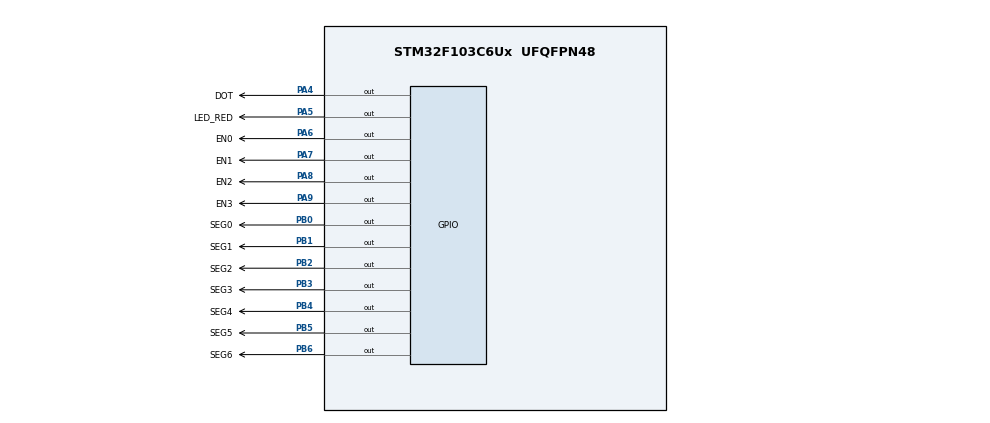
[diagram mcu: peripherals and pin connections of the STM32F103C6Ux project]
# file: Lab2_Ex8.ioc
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Mcu.Family=STM32F1
Mcu.Name=STM32F103C6Ux
Mcu.Package=UFQFPN48
NVIC.PriorityGroup=NVIC_PRIORITYGROUP_4
NVIC.TIM2_IRQn=true\:0\:0\:false\:false\:true\:true\:true
PA4.GPIO_Label=DOT
PA4.Signal=GPIO_Output
PA5.GPIO_Label=LED_RED
PA5.Signal=GPIO_Output
PA6.GPIO_Label=EN0
PA6.Signal=GPIO_Output
PA7.GPIO_Label=EN1
PA7.Signal=GPIO_Output
PA8.GPIO_Label=EN2
PA8.Signal=GPIO_Output
PA9.GPIO_Label=EN3
PA9.Signal=GPIO_Output
PB0.GPIO_Label=SEG0
PB0.Signal=GPIO_Output
PB1.GPIO_Label=SEG1
PB1.Signal=GPIO_Output
PB2.GPIO_Label=SEG2
PB2.Signal=GPIO_Output
PB3.GPIO_Label=SEG3
PB3.Signal=GPIO_Output
PB4.GPIO_Label=SEG4
PB4.Signal=GPIO_Output
PB5.GPIO_Label=SEG5
PB5.Signal=GPIO_Output
PB6.GPIO_Label=SEG6
PB6.Signal=GPIO_Output
ProjectManager.HeapSize=0x200
ProjectManager.StackSize=0x400
ProjectManager.TargetToolchain=STM32CubeIDE
RCC.APB1Freq_Value=8000000
RCC.APB2Freq_Value=8000000
TIM2.Period=9
TIM2.Prescaler=7999
VP_SYS_VS_ND.Mode=No_Debug
VP_TIM2_VS_ClockSourceINT.Mode=Internal
board=custom

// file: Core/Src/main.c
/* USER CODE BEGIN Header */
/**
  ******************************************************************************
  * @file           : main.c
  * @brief          : Main program body
  ******************************************************************************
  * @attention
  *
  * <h2><center>&copy; Copyright (c) 2023 STMicroelectronics.
  * All rights reserved.</center></h2>
  *
  * This software component is licensed by ST under BSD 3-Clause license,
  * the "License"; You may not use this file except in compliance with the
  * License. You may obtain a copy of the License at:
  *                        opensource.org/licenses/BSD-3-Clause
  *
  ******************************************************************************
  */
/* USER CODE END Header */
#include "main.h"

/* USER CODE BEGIN Includes */
#include "software_timer.h"
/* USER CODE END Includes */

TIM_HandleTypeDef htim2;

/* USER CODE BEGIN PV */

const int MAX_LED = 4;
int index_led = 0;
int led_buffer [4] = {0, 0, 0, 0};
int hour = 15, minute = 8, second = 55;
/* USER CODE END PV */

void SystemClock_Config(void);
static void MX_GPIO_Init(void);
static void MX_TIM2_Init(void);
/* USER CODE BEGIN PFP */
void update7SEG(int);
/* USER CODE END PFP */

/* USER CODE BEGIN 0 */
void display7SEG(int num){
	if(num == 0){
			HAL_GPIO_WritePin(SEG0_GPIO_Port, SEG0_Pin, RESET);
			HAL_GPIO_WritePin(SEG1_GPIO_Port, SEG1_Pin, RESET);
			HAL_GPIO_WritePin(SEG2_GPIO_Port, SEG2_Pin, RESET);
			HAL_GPIO_WritePin(SEG3_GPIO_Port, SEG3_Pin, RESET);
			HAL_GPIO_WritePin(SEG4_GPIO_Port, SEG4_Pin, RESET);
			HAL_GPIO_WritePin(SEG5_GPIO_Port, SEG5_Pin, RESET);
			HAL_GPIO_WritePin(SEG6_GPIO_Port, SEG6_Pin, SET);
		}
		else if(num == 1){
			HAL_GPIO_WritePin(SEG0_GPIO_Port, SEG0_Pin, SET);
			HAL_GPIO_WritePin(SEG1_GPIO_Port, SEG1_Pin, RESET);
			HAL_GPIO_WritePin(SEG2_GPIO_Port, SEG2_Pin, RESET);
			HAL_GPIO_WritePin(SEG3_GPIO_Port, SEG3_Pin, SET);
			HAL_GPIO_WritePin(SEG4_GPIO_Port, SEG4_Pin, SET);
			HAL_GPIO_WritePin(SEG5_GPIO_Port, SEG5_Pin, SET);
			HAL_GPIO_WritePin(SEG6_GPIO_Port, SEG6_Pin, SET);
		}
		else if(num == 2){
			HAL_GPIO_WritePin(SEG0_GPIO_Port, SEG0_Pin, RESET);
			HAL_GPIO_WritePin(SEG1_GPIO_Port, SEG1_Pin, RESET);
			HAL_GPIO_WritePin(SEG2_GPIO_Port, SEG2_Pin, SET);
			HAL_GPIO_WritePin(SEG3_GPIO_Port, SEG3_Pin, RESET);
			HAL_GPIO_WritePin(SEG4_GPIO_Port, SEG4_Pin, RESET);
			HAL_GPIO_WritePin(SEG5_GPIO_Port, SEG5_Pin, SET);
			HAL_GPIO_WritePin(SEG6_GPIO_Port, SEG6_Pin, RESET);
		}
		else if(num == 3){
			HAL_GPIO_WritePin(SEG0_GPIO_Port, SEG0_Pin, RESET);
			HAL_GPIO_WritePin(SEG1_GPIO_Port, SEG1_Pin, RESET);
			HAL_GPIO_WritePin(SEG2_GPIO_Port, SEG2_Pin, RESET);
			HAL_GPIO_WritePin(SEG3_GPIO_Port, SEG3_Pin, RESET);
			HAL_GPIO_WritePin(SEG4_GPIO_Port, SEG4_Pin, SET);
			HAL_GPIO_WritePin(SEG5_GPIO_Port, SEG5_Pin, SET);
			HAL_GPIO_WritePin(SEG6_GPIO_Port, SEG6_Pin, RESET);
		}
		else if(num == 4){
			HAL_GPIO_WritePin(SEG0_GPIO_Port, SEG0_Pin, SET);
			HAL_GPIO_WritePin(SEG1_GPIO_Port, SEG1_Pin, RESET);
			HAL_GPIO_WritePin(SEG2_GPIO_Port, SEG2_Pin, RESET);
			HAL_GPIO_WritePin(SEG3_GPIO_Port, SEG3_Pin, SET);
			HAL_GPIO_WritePin(SEG4_GPIO_Port, SEG4_Pin, SET);
			HAL_GPIO_WritePin(SEG5_GPIO_Port, SEG5_Pin, RESET);
			HAL_GPIO_WritePin(SEG6_GPIO_Port, SEG6_Pin, RESET);
		}
		else if(num == 5){
			HAL_GPIO_WritePin(SEG0_GPIO_Port, SEG0_Pin, RESET);
			HAL_GPIO_WritePin(SEG1_GPIO_Port, SEG1_Pin, SET);
			HAL_GPIO_WritePin(SEG2_GPIO_Port, SEG2_Pin, RESET);
			HAL_GPIO_WritePin(SEG3_GPIO_Port, SEG3_Pin, RESET);
			HAL_GPIO_WritePin(SEG4_GPIO_Port, SEG4_Pin, SET);
			HAL_GPIO_WritePin(SEG5_GPIO_Port, SEG5_Pin, RESET);
			HAL_GPIO_WritePin(SEG6_GPIO_Port, SEG6_Pin, RESET);
		}
		else if(num == 6){
			HAL_GPIO_WritePin(SEG0_GPIO_Port, SEG0_Pin, RESET);
			HAL_GPIO_WritePin(SEG1_GPIO_Port, SEG1_Pin, SET);
			HAL_GPIO_WritePin(SEG2_GPIO_Port, SEG2_Pin, RESET);
			HAL_GPIO_WritePin(SEG3_GPIO_Port, SEG3_Pin, RESET);
			HAL_GPIO_WritePin(SEG4_GPIO_Port, SEG4_Pin, RESET);
			HAL_GPIO_WritePin(SEG5_GPIO_Port, SEG5_Pin, RESET);
			HAL_GPIO_WritePin(SEG6_GPIO_Port, SEG6_Pin, RESET);
		}
		else if(num == 7){
			HAL_GPIO_WritePin(SEG0_GPIO_Port, SEG0_Pin, RESET);
			HAL_GPIO_WritePin(SEG1_GPIO_Port, SEG1_Pin, RESET);
			HAL_GPIO_WritePin(SEG2_GPIO_Port, SEG2_Pin, RESET);
			HAL_GPIO_WritePin(SEG3_GPIO_Port, SEG3_Pin, SET);
			HAL_GPIO_WritePin(SEG4_GPIO_Port, SEG4_Pin, SET);
			HAL_GPIO_WritePin(SEG5_GPIO_Port, SEG5_Pin, SET);
			HAL_GPIO_WritePin(SEG6_GPIO_Port, SEG6_Pin, SET);
		}
		else if(num == 8){
			HAL_GPIO_WritePin(SEG0_GPIO_Port, SEG0_Pin, RESET);
			HAL_GPIO_WritePin(SEG1_GPIO_Port, SEG1_Pin, RESET);
			HAL_GPIO_WritePin(SEG2_GPIO_Port, SEG2_Pin, RESET);
			HAL_GPIO_WritePin(SEG3_GPIO_Port, SEG3_Pin, RESET);
			HAL_GPIO_WritePin(SEG4_GPIO_Port, SEG4_Pin, RESET);
			HAL_GPIO_WritePin(SEG5_GPIO_Port, SEG5_Pin, RESET);
			HAL_GPIO_WritePin(SEG6_GPIO_Port, SEG6_Pin, RESET);
		}
		else if(num == 9){
			HAL_GPIO_WritePin(SEG0_GPIO_Port, SEG0_Pin, RESET);
			HAL_GPIO_WritePin(SEG1_GPIO_Port, SEG1_Pin, RESET);
			HAL_GPIO_WritePin(SEG2_GPIO_Port, SEG2_Pin, RESET);
			HAL_GPIO_WritePin(SEG3_GPIO_Port, SEG3_Pin, RESET);
			HAL_GPIO_WritePin(SEG4_GPIO_Port, SEG4_Pin, SET);
			HAL_GPIO_WritePin(SEG5_GPIO_Port, SEG5_Pin, RESET);
			HAL_GPIO_WritePin(SEG6_GPIO_Port, SEG6_Pin, RESET);
		}
}
/* USER CODE END 0 */

int main(void)
{

  /* MCU Configuration--------------------------------------------------------*/

  /* Reset of all peripherals, Initializes the Flash interface and the Systick. */
  HAL_Init();

  /* Configure the system clock */
  SystemClock_Config();

  /* Initialize all configured peripherals */
  MX_GPIO_Init();
  MX_TIM2_Init();
  /* USER CODE BEGIN 2 */
  HAL_TIM_Base_Start_IT (& htim2 ) ;
  /* USER CODE END 2 */
  HAL_GPIO_TogglePin(SEG0_GPIO_Port, SEG0_Pin);
  HAL_GPIO_TogglePin(SEG1_GPIO_Port, SEG1_Pin);
  HAL_GPIO_TogglePin(SEG2_GPIO_Port, SEG2_Pin);
  HAL_GPIO_TogglePin(SEG3_GPIO_Port, SEG3_Pin);
  HAL_GPIO_TogglePin(SEG4_GPIO_Port, SEG4_Pin);
  HAL_GPIO_TogglePin(SEG5_GPIO_Port, SEG5_Pin);
  HAL_GPIO_TogglePin(SEG6_GPIO_Port, SEG6_Pin);
  /* Infinite loop */
  /* USER CODE BEGIN WHILE */
  setTimer1(100);
  while (1)
  {
    /* USER CODE END WHILE */
	  if(timer1_flag ==1 ){
		  setTimer1(100);
		  second++;
		 	  if(second >= 60) {
		 		  second = 0;
		 		  minute++;
		 	  }
		 	  if(minute >= 60) {
		 		  minute = 0;
		 		  hour++;
		 	  }
		 	  if(hour >= 24) {
		 		  hour = 0;
		 	  }
		  updateClockBuffer();
		  HAL_GPIO_TogglePin(DOT_GPIO_Port, DOT_Pin);
		  HAL_GPIO_TogglePin ( LED_RED_GPIO_Port , LED_RED_Pin ) ;
		  update7SEG(index_led++);
		  if(index_led == MAX_LED) index_led = 0;
  }

  }
}

void SystemClock_Config(void)
{
  RCC_OscInitTypeDef RCC_OscInitStruct = {0};
  RCC_ClkInitTypeDef RCC_ClkInitStruct = {0};

  /** Initializes the RCC Oscillators according to the specified parameters
  * in the RCC_OscInitTypeDef structure.
  */
  RCC_OscInitStruct.OscillatorType = RCC_OSCILLATORTYPE_HSI;
  RCC_OscInitStruct.HSIState = RCC_HSI_ON;
  RCC_OscInitStruct.HSICalibrationValue = RCC_HSICALIBRATION_DEFAULT;
  RCC_OscInitStruct.PLL.PLLState = RCC_PLL_NONE;
  if (HAL_RCC_OscConfig(&RCC_OscInitStruct) != HAL_OK)
  {
    Error_Handler();
  }
  /** Initializes the CPU, AHB and APB buses clocks
  */
  RCC_ClkInitStruct.ClockType = RCC_CLOCKTYPE_HCLK|RCC_CLOCKTYPE_SYSCLK
                              |RCC_CLOCKTYPE_PCLK1|RCC_CLOCKTYPE_PCLK2;
  RCC_ClkInitStruct.SYSCLKSource = RCC_SYSCLKSOURCE_HSI;
  RCC_ClkInitStruct.AHBCLKDivider = RCC_SYSCLK_DIV1;
  RCC_ClkInitStruct.APB1CLKDivider = RCC_HCLK_DIV1;
  RCC_ClkInitStruct.APB2CLKDivider = RCC_HCLK_DIV1;

  if (HAL_RCC_ClockConfig(&RCC_ClkInitStruct, FLASH_LATENCY_0) != HAL_OK)
  {
    Error_Handler();
  }
}

static void MX_TIM2_Init(void)
{

  TIM_ClockConfigTypeDef sClockSourceConfig = {0};
  TIM_MasterConfigTypeDef sMasterConfig = {0};

  htim2.Instance = TIM2;
  htim2.Init.Prescaler = 7999;
  htim2.Init.CounterMode = TIM_COUNTERMODE_UP;
  htim2.Init.Period = 9;
  htim2.Init.ClockDivision = TIM_CLOCKDIVISION_DIV1;
  htim2.Init.AutoReloadPreload = TIM_AUTORELOAD_PRELOAD_DISABLE;
  if (HAL_TIM_Base_Init(&htim2) != HAL_OK)
  {
    Error_Handler();
  }
  sClockSourceConfig.ClockSource = TIM_CLOCKSOURCE_INTERNAL;
  if (HAL_TIM_ConfigClockSource(&htim2, &sClockSourceConfig) != HAL_OK)
  {
    Error_Handler();
  }
  sMasterConfig.MasterOutputTrigger = TIM_TRGO_RESET;
  sMasterConfig.MasterSlaveMode = TIM_MASTERSLAVEMODE_DISABLE;
  if (HAL_TIMEx_MasterConfigSynchronization(&htim2, &sMasterConfig) != HAL_OK)
  {
    Error_Handler();
  }

}

static void MX_GPIO_Init(void)
{
  GPIO_InitTypeDef GPIO_InitStruct = {0};

  /* GPIO Ports Clock Enable */
  __HAL_RCC_GPIOA_CLK_ENABLE();
  __HAL_RCC_GPIOB_CLK_ENABLE();

  /*Configure GPIO pin Output Level */
  HAL_GPIO_WritePin(GPIOA, DOT_Pin|LED_RED_Pin|EN0_Pin|EN1_Pin
                          |EN2_Pin|EN3_Pin, GPIO_PIN_RESET);

  /*Configure GPIO pin Output Level */
  HAL_GPIO_WritePin(GPIOB, SEG0_Pin|SEG1_Pin|SEG2_Pin|SEG3_Pin
                          |SEG4_Pin|SEG5_Pin|SEG6_Pin, GPIO_PIN_RESET);

  /*Configure GPIO pins : DOT_Pin LED_RED_Pin EN0_Pin EN1_Pin
                           EN2_Pin EN3_Pin */
  GPIO_InitStruct.Pin = DOT_Pin|LED_RED_Pin|EN0_Pin|EN1_Pin
                          |EN2_Pin|EN3_Pin;
  GPIO_InitStruct.Mode = GPIO_MODE_OUTPUT_PP;
  GPIO_InitStruct.Pull = GPIO_NOPULL;
  GPIO_InitStruct.Speed = GPIO_SPEED_FREQ_LOW;
  HAL_GPIO_Init(GPIOA, &GPIO_InitStruct);

  /*Configure GPIO pins : SEG0_Pin SEG1_Pin SEG2_Pin SEG3_Pin
                           SEG4_Pin SEG5_Pin SEG6_Pin */
  GPIO_InitStruct.Pin = SEG0_Pin|SEG1_Pin|SEG2_Pin|SEG3_Pin
                          |SEG4_Pin|SEG5_Pin|SEG6_Pin;
  GPIO_InitStruct.Mode = GPIO_MODE_OUTPUT_PP;
  GPIO_InitStruct.Pull = GPIO_NOPULL;
  GPIO_InitStruct.Speed = GPIO_SPEED_FREQ_LOW;
  HAL_GPIO_Init(GPIOB, &GPIO_InitStruct);

}

/* USER CODE BEGIN 4 */
int counter = 100;
int counter1 = 100;

void HAL_TIM_PeriodElapsedCallback ( TIM_HandleTypeDef * htim ){
	timerRun();
}
void update7SEG(int index) {
		display7SEG(led_buffer[index]);
		switch(index) {
		case 0:
			HAL_GPIO_WritePin(EN0_GPIO_Port, EN0_Pin, RESET);
			HAL_GPIO_WritePin(EN1_GPIO_Port, EN1_Pin, SET);
			HAL_GPIO_WritePin(EN2_GPIO_Port, EN2_Pin, SET);
			HAL_GPIO_WritePin(EN3_GPIO_Port, EN3_Pin, SET);
			break;
		case 1:
			HAL_GPIO_WritePin(EN0_GPIO_Port, EN0_Pin, SET);
			HAL_GPIO_WritePin(EN1_GPIO_Port, EN1_Pin, RESET);
			HAL_GPIO_WritePin(EN2_GPIO_Port, EN2_Pin, SET);
			HAL_GPIO_WritePin(EN3_GPIO_Port, EN3_Pin, SET);
			break;
		case 2:
			HAL_GPIO_WritePin(EN0_GPIO_Port, EN0_Pin, SET);
			HAL_GPIO_WritePin(EN1_GPIO_Port, EN1_Pin, SET);
			HAL_GPIO_WritePin(EN2_GPIO_Port, EN2_Pin, RESET);
			HAL_GPIO_WritePin(EN3_GPIO_Port, EN3_Pin, SET);
			break;
		case 3:
			HAL_GPIO_WritePin(EN0_GPIO_Port, EN0_Pin, SET);
			HAL_GPIO_WritePin(EN1_GPIO_Port, EN1_Pin, SET);
			HAL_GPIO_WritePin(EN2_GPIO_Port, EN2_Pin, SET);
			HAL_GPIO_WritePin(EN3_GPIO_Port, EN3_Pin, RESET);
			break;
		default:
			break;
		}

}
void updateClockBuffer(){
	led_buffer[0] = hour / 10;
	led_buffer[1] = hour % 10;
	led_buffer[2] = minute / 10;
	led_buffer[3] = minute % 10;
}
/* USER CODE END 4 */

void Error_Handler(void)
{
  __disable_irq();
  while (1)
  {
  }
}

/************************ (C) COPYRIGHT STMicroelectronics *****END OF FILE****/
